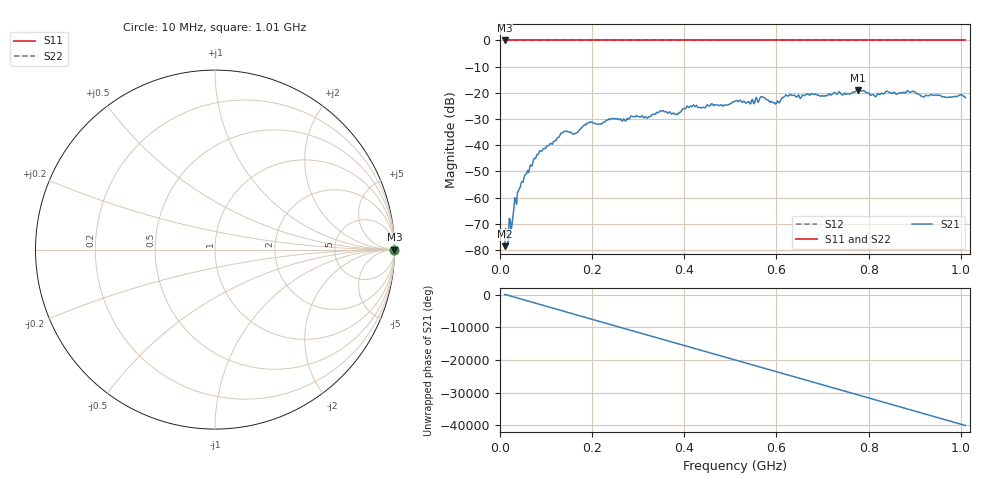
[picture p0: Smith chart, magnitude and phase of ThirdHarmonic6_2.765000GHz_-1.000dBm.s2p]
! 8/17/2025 7:00:09 AM
! C:\ANRITSUVNA\TEMP\TEMP.S2P
! CHANNEL.1
! TR.MEASUREMENT
! RAW.DATA
! RF.CORRECTION.OFF
! AVERAGING.OFF
! IF.BANDWIDTH: 5KHZ
! SWEEPTYPE:  FREQ.SWEEP(Linear)
! Reference Plane Port Info
! PORT:  PORT1  PORT2
! DISTANCE:  0  m  0  m
! TIME:  0  s  0  s
! PHASE.OFFSET:  0  deg.  0  deg.
! LOSS:  0  dB  0  dB
! REF.LOSS:  0  dB  0  dB
! REF.FREQ:  0  Hz  0  Hz
! Power Info
! POWER:  -20  dBm  -20  dBm
! EFF.POWER:  -20  dBm  -20  dBm
! SOURCE.ATTEN:  0  dB  0  dB
! TEST.ATTEN:  0  dB  0  dB
# GHZ S RI R 50.0
! FREQ.GHZ  S11RE  S11IM  S21RE  S21IM  S12RE  S12IM  S22RE  S22IM
!; PortSelection: Port_12
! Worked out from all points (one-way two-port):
!   501 points, 10 MHz to 1.01 GHz, reference 50 ohm
!   highest |S21| = -19.05 dB at 776 MHz (marker M1); lowest = -78.5 dB at 10 MHz (marker M2)
!   lowest |S11| = 0.0 dB at 10 MHz (marker M3)
!   |S11| at or under -10 dB: nowhere
!   |S22| runs from 0.0 to 0.0 dB; largest |S21 - S12| = 1.1
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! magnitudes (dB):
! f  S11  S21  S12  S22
! 10 MHz  0.0  -78.5  0.0  0.0
! 22 MHz  0.0  -68.3  0.0  0.0
! 34 MHz  0.0  -60.7  0.0  0.0
! 42 MHz  0.0  -56.5  0.0  0.0
! 76 MHz  0.0  -45.1  0.0  0.0
! 136 MHz  0.0  -35.3  0.0  0.0
! 162 MHz  0.0  -35.5  0.0  0.0
! 178 MHz  0.0  -33.2  0.0  0.0
! 196 MHz  0.0  -31.2  0.0  0.0
! 344 MHz  0.0  -27.5  0.0  0.0
! 382 MHz  0.0  -28.2  0.0  0.0
! 416 MHz  0.0  -25.3  0.0  0.0
! 510 MHz  0.0  -23.2  0.0  0.0
! 540 MHz  0.0  -23.3  0.0  0.0
! 570 MHz  0.0  -21.6  0.0  0.0
! 596 MHz  0.0  -23.8  0.0  0.0
! 624 MHz  0.0  -21.2  0.0  0.0
! 678 MHz  0.0  -20.5  0.0  0.0
! 776 MHz  0.0  -19.1  0.0  0.0
! 814 MHz  0.0  -21.4  0.0  0.0
! 844 MHz  0.0  -19.7  0.0  0.0
! 1.01 GHz  0.0  -21.8  0.0  0.0
